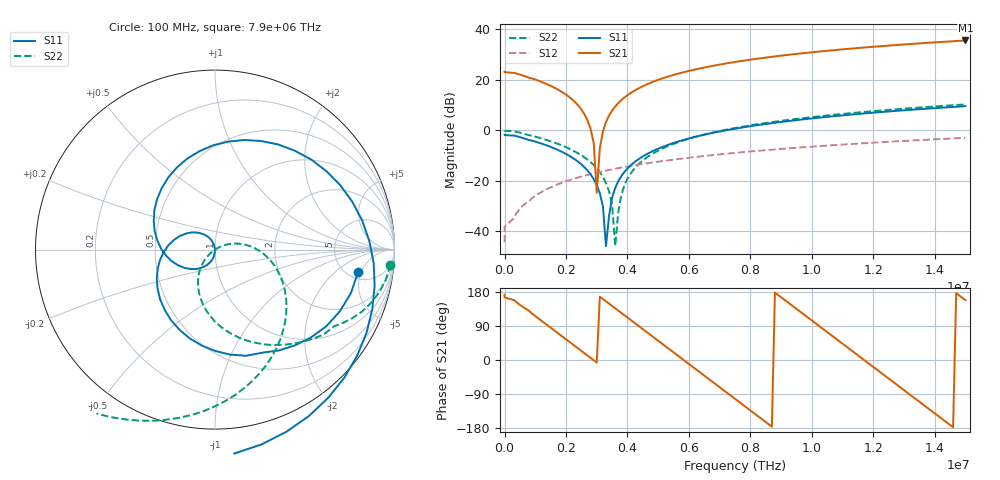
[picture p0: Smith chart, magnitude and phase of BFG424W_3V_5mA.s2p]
! Filename BFG424W_3V_5mA.prm
! Simulation_Values
!	! Created	by	janssen	on	Thu	Sep	15	10:02:03	WETDST	2005
!	Column ranking S11, S21,S12,S22 both magnitude and phase.
!	VCE	=	3	V,	IC	=	5	mA
!	Common	Emitter	S-Parameters
#	GHz	S	MA	R	50
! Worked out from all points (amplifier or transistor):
!   150 points, 100 MHz to 1.5e+07 THz, reference 50 ohm
!   highest |S21| = 35.5 dB at 1.5e+07 THz (marker M1)
!   |S21| within 3 dB of that: 1.15e+07 THz to end of sweep
!   unconditionally stable (mu >= 1): 2.166e+06 THz to 3.987e+06 THz
!   at 2.6e+06 THz: K = 1.82, MAG = 6.9 dB, |S12| = -18.1 dB
!   at 7.6e+06 THz: K = 4.33, MSG = 18.1 dB, |S12| = -8.9 dB
!   at 1.5e+07 THz: K = 17.76, MSG = 19.3 dB, |S12| = -3.1 dB
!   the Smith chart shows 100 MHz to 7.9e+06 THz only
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0.1  0.807 -8.9  14.29 172.4  0.006 83.1  0.981 -4.9
1e9  0.591 -81.8  10.01 115.8  0.05 50.1  0.74 -42.0
1.8e9  0.387 -145.7  6.028 66.8  0.087 21.3  0.514 -74.0
2.6e9  0.183 -209.5  2.047 17.8  0.125 -7.5  0.287 -106.0
3.9e9  -0.148 -313.3  -4.421 -61.9  0.185 -54.3  -0.08 -157.9
5.1e9  -0.453 -409.1  -10.39 -135.4  0.241 -97.5  -0.42 -205.9
5.8e9  -0.632 -464.9  -13.88 -178.3  0.274 -122.7  -0.618 -233.9
6.4e9  -0.785 -512.8  -16.86 -215.0  0.301 -144.3  -0.787 -257.9
7.1e9  -0.963 -568.7  -20.34 -257.9  0.334 -169.5  -0.985 -285.9
7.6e9  -1.09 -608.6  -22.83 -288.6  0.357 -187.5  -1.127 -305.8
8.2e9  -1.243 -656.5  -25.82 -325.3  0.385 -209.1  -1.297 -329.8
8.9e9  -1.421 -712.4  -29.3 -368.2  0.418 -234.3  -1.495 -357.8
9.5e9  -1.574 -760.3  -32.29 -405.0  0.446 -255.9  -1.664 -381.8
1.01e10  -1.727 -808.2  -35.27 -441.7  0.474 -277.5  -1.834 -405.8
1.08e10  -1.905 -864.0  -38.76 -484.6  0.506 -302.7  -2.032 -433.8
1.15e10  -2.084 -919.9  -42.24 -527.5  0.539 -327.9  -2.23 -461.7
1.2e10  -2.211 -959.8  -44.73 -558.2  0.562 -345.9  -2.371 -481.7
1.26e10  -2.364 -1007.7  -47.71 -594.9  0.59 -367.5  -2.541 -505.7
1.32e10  -2.517 -1055.6  -50.7 -631.7  0.618 -389.1  -2.711 -529.7
1.37e10  -2.644 -1095.5  -53.19 -662.3  0.641 -407.2  -2.852 -549.7
1.44e10  -2.822 -1151.4  -56.67 -705.2  0.674 -432.4  -3.05 -577.7
1.5e10  -2.975 -1199.3  -59.66 -742.0  0.702 -454.0  -3.22 -601.6
